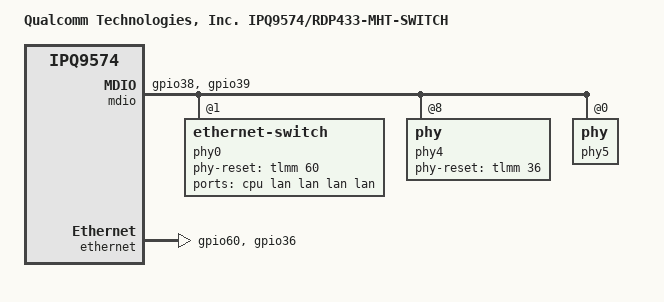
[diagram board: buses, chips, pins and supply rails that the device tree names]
// SPDX-License-Identifier: GPL-2.0-only
/*
 * Copyright (c) Qualcomm Technologies, Inc. and/or its subsidiaries.
 */

/dts-v1/;

#include "ipq9574-rdp-common.dtsi"

/ {
	model = "Qualcomm Technologies, Inc. IPQ9574/RDP433-MHT-SWITCH";
	compatible = "qcom,ipq9574-rdp433-mht-switch", "qcom,ipq9574";

	soc@0 {
		mdio: mdio@90000 {
			pinctrl-names = "default";
			pinctrl-0 = <&mdio_pinmux>;
			status = "okay";

			phy0: ethernet-switch@1 {
				phy-reset-gpio = <&tlmm 60 0>;
				dev-mode = <0x1>;
				phy_addr = <1>;
				phy_type = <QCA8x8x_SWITCH_TYPE>;
				id = <1>;
				uniphy_id = <0>;
				uniphy_type = <0>;
				max_speed = <2500>;
				force-speed;
				xgmac;
				ports {
					#address-cells = <1>;
					#size-cells = <0>;

					port0: port@0 {
						phy_addr = <0>;
						label = "cpu";
						phy-mode = "2500base-x";
						fixed-link {
							speed = <2500>;
							full-duplex;
						};
					};

					port1: port@1 {
						phy_addr = <1>;
						label = "lan";
					};

					port2: port@2 {
						phy_addr = <2>;
						label = "lan";
					};

					port3: port@3 {
						phy_addr = <3>;
						label = "lan";
					};

					port4: port@4 {
						phy_addr = <4>;
						label = "lan";
					};
				};
			};

			phy4: phy@8 {
				phy-reset-gpio = <&tlmm 36 0>;
				phy_addr = <8>;
				phy_type = <AQ_PHY_TYPE>;
				phy-mode = "usxgmii";
				id = <5>;
				uniphy_id = <1>;
				uniphy_type = <1>;
				xgmac;
			};

			phy5: phy@0 {
				phy_addr = <0>;
				phy_type = <AQ_PHY_TYPE>;
				phy-mode = "usxgmii";
				id = <6>;
				uniphy_id = <2>;
				uniphy_type = <0>;
				xgmac;
			};
		};

		ethernet: nss-switch {
			pinctrl-names = "default";
			pinctrl-0 = <&phy_rst_pinmux>;
			phy-handle0 = <&phy0>;
			phy-handle4 = <&phy4>;
			phy-handle5 = <&phy5>;
			status = "okay";
		};
	};
};

&tlmm {
	mdio_pinmux: mdio {
		mdc {
			pins = "gpio38";
			function = "mdc";
			drive-strength = <8>;
			bias-disable;
		};

		mdio {
			pins = "gpio39";
			function = "mdio";
			drive-strength = <8>;
			bias-pull-up;
		};
	};

	phy_rst_pinmux: phy_rst {
		qti_8x8x_rst {
			pins = "gpio60";
			drive-strength = <8>;
			bias-pull-up;
		};

		qti_aquantia_rst {
			pins = "gpio36";
			drive-strength = <8>;
			bias-pull-up;
		};
	};
};
